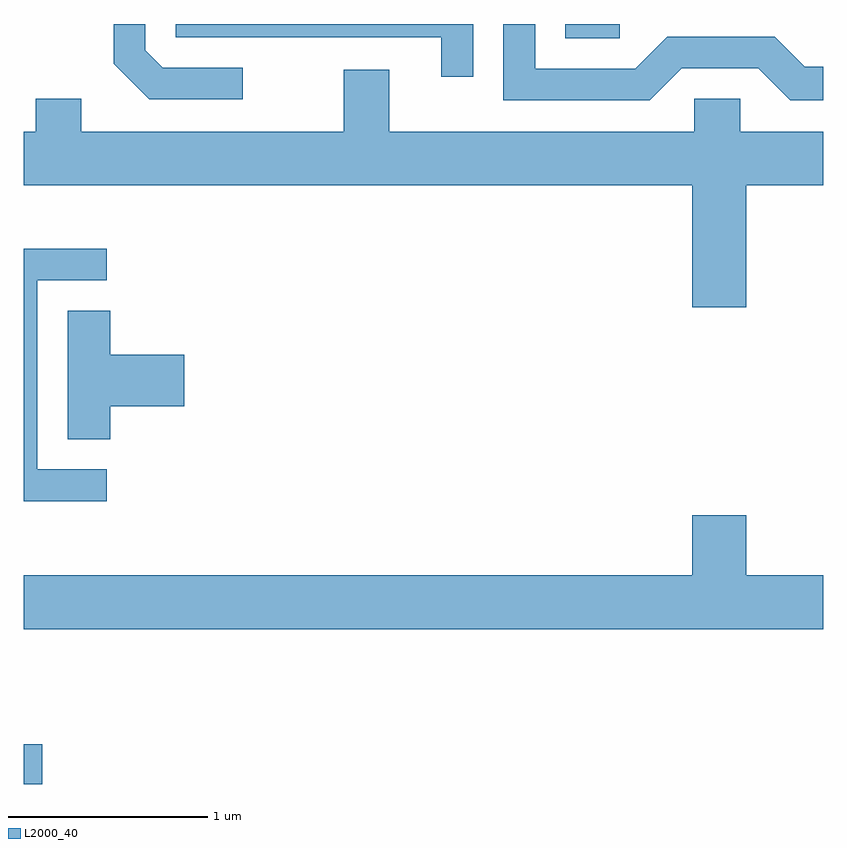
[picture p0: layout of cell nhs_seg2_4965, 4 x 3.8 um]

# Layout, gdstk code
import gdstk
lib = gdstk.Library(unit=1e-6, precision=1e-09)
def R(c, l, rs):  # rectangles x0, y0, x1, y1
    for r in rs: c.add(gdstk.rectangle(r[:2], r[2:], *l))
def P(c, l, *ps):  # polygons
    for p in ps: c.add(gdstk.Polygon(p, *l))
L2000_40 = (2000, 40)

nhs_seg2_4965 = lib.new_cell('nhs_seg2_4965')
R(nhs_seg2_4965, L2000_40, [(331.611,1032.001,331.704,1032.199), (334.321,1035.731,334.593,1035.802)])
P(nhs_seg2_4965, L2000_40, [(333.859,1035.802),(332.371,1035.802),(332.371,1035.736),(333.701,1035.736),(333.701,1035.537),(333.859,1035.537)],
  [(332.708,1035.584),(332.307,1035.584),(332.219,1035.671),(332.219,1035.802),(332.061,1035.802),(332.061,1035.603),(332.239,1035.426),(332.708,1035.426)],
  [(334.902,1035.581),(335.284,1035.581),(335.444,1035.421),(335.611,1035.421),(335.611,1035.589),(335.517,1035.589),(335.367,1035.739),(334.829,1035.739),(334.669,1035.579),(334.169,1035.579),(334.169,1035.802),(334.011,1035.802),(334.011,1035.421),(334.742,1035.421)],
  [(335.224,1034.996),(335.611,1034.996),(335.611,1035.264),(335.194,1035.264),(335.194,1035.429),(334.966,1035.429),(334.966,1035.264),(333.439,1035.264),(333.439,1035.574),(333.211,1035.574),(333.211,1035.264),(331.899,1035.264),(331.899,1035.429),(331.671,1035.429),(331.671,1035.264),(331.611,1035.264),(331.611,1034.996),(334.956,1034.996),(334.956,1034.386),(335.224,1034.386)],
  [(332.028,1033.574),(331.679,1033.574),(331.679,1034.521),(332.028,1034.521),(332.028,1034.679),(331.611,1034.679),(331.611,1033.416),(332.028,1033.416)],
  [(332.044,1033.891),(332.414,1033.891),(332.414,1034.149),(332.044,1034.149),(332.044,1034.369),(331.831,1034.369),(331.831,1033.726),(332.044,1033.726)],
  [(335.611,1033.044),(335.224,1033.044),(335.224,1033.344),(334.956,1033.344),(334.956,1033.044),(331.611,1033.044),(331.611,1032.776),(335.611,1032.776)])

lib.write_gds('nhs_seg2_4965.gds')
